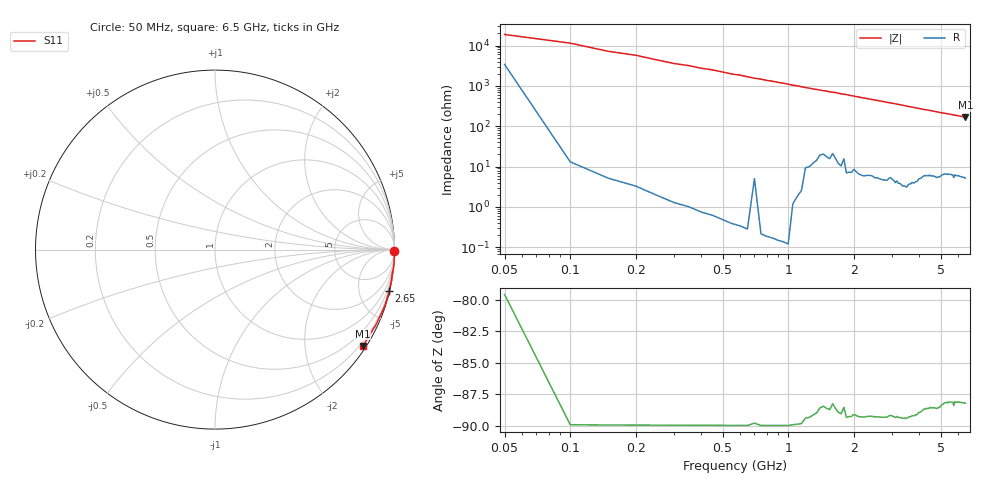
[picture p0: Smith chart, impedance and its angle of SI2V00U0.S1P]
! (c) 1999  Infineon Technologies AG, Munich
! Infineon Technologies  Discrete & RF Semiconductors
! BAT24-02LS
! Si Schottky Diode in TSSLP-2
! VR = 2 V
! S-Parameters:  July  2007
# GHz  S  MA  R  50
!  f  S11
! GHz  MAG  ANG
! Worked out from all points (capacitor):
!   130 points, 50 MHz to 6.5 GHz, reference 50 ohm
!   read as one part to ground: C = 148 fF near 50 MHz
!   lowest |Z| = 168 ohm at 6.5 GHz (marker M1)
!   S11 on the Smith chart (normalised r, x): 50 MHz: open; 2.65 GHz: 0.10, -8.45; 6.5 GHz: 0.10, -3.36
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0.05  0.999 -0.3
0.35  1 -1.8
0.9  1 -4.7
1.2  0.9989 -6.3
1.6  0.9957 -8.2
1.7  0.9973 -8.7
1.8  0.996 -9.2
1.85  0.9981 -9.4
1.95  0.9978 -10.0
2.5  0.9974 -12.8
2.65  0.9973 -13.5
2.85  0.997 -14.6
3.2  0.9969 -16.3
3.3  0.9969 -16.9
3.55  0.9964 -18.3
3.75  0.9956 -19.3
4.1  0.9927 -21.2
4.3  0.9911 -22.1
4.5  0.9906 -23.2
4.7  0.9902 -24.1
4.9  0.9893 -25.2
5  0.9884 -25.8
5.35  0.9851 -27.5
5.6  0.9846 -28.6
5.7  0.9846 -29.2
5.75  0.9863 -29.4
5.8  0.9837 -29.7
6.5  0.9833 -33.1
